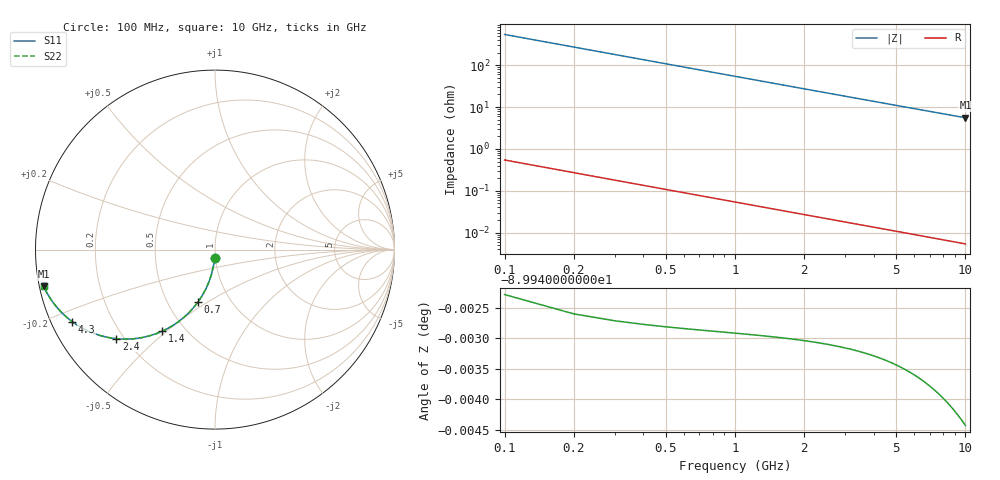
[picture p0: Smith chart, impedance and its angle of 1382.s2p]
# Hz S RI R 50.00
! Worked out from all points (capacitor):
!   100 points, 100 MHz to 10 GHz, reference 50 ohm
!   read as one part in shunt: C = 2.95 pF near 100 MHz
!   lowest |Z| = 5.55 ohm at 10 GHz (marker M1)
!   S11 on the Smith chart (normalised r, x): 100 MHz: 0.99, -0.09; 700 MHz: 0.70, -0.46; 1.4 GHz: 0.38, -0.48; 2.4 GHz: 0.17, -0.38; 4.3 GHz: 0.06, -0.24; 10 GHz: 0.01, -0.11
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1e8  -0.00218 -0.0461  0.9978 -0.0462  0.9978 -0.0462  -0.00218 -0.0461
2e8  -0.00857 -0.0917  0.9914 -0.0918  0.9914 -0.0918  -0.00857 -0.0917
3e8  -0.019 -0.136  0.981 -0.1362  0.981 -0.1362  -0.019 -0.136
4e8  -0.0332 -0.1787  0.9667 -0.1789  0.9667 -0.1789  -0.0332 -0.1787
5e8  -0.0509 -0.2192  0.9491 -0.2195  0.9491 -0.2195  -0.0509 -0.2192
6e8  -0.0716 -0.2572  0.9283 -0.2576  0.9283 -0.2576  -0.0716 -0.2572
7e8  -0.095 -0.2925  0.905 -0.2929  0.905 -0.2929  -0.095 -0.2925
8e8  -0.1204 -0.3247  0.8795 -0.3252  0.8795 -0.3252  -0.1204 -0.3247
1e9  -0.176 -0.38  0.824 -0.3806  0.824 -0.3806  -0.176 -0.38
1.2e9  -0.2349 -0.4231  0.765 -0.4238  0.765 -0.4238  -0.2349 -0.4231
1.4e9  -0.2945 -0.4549  0.7055 -0.4557  0.7055 -0.4557  -0.2945 -0.4549
1.8e9  -0.4076 -0.4903  0.5924 -0.4915  0.5924 -0.4915  -0.4076 -0.4903
2.1e9  -0.4831 -0.4986  0.5169 -0.4999  0.5169 -0.4999  -0.4831 -0.4986
2.4e9  -0.5492 -0.4963  0.4508 -0.4978  0.4508 -0.4978  -0.5492 -0.4963
2.9e9  -0.6395 -0.4787  0.3605 -0.4806  0.3605 -0.4806  -0.6395 -0.4787
3.4e9  -0.7086 -0.4528  0.2914 -0.455  0.2914 -0.455  -0.7086 -0.4528
3.8e9  -0.752 -0.4301  0.248 -0.4326  0.248 -0.4326  -0.752 -0.4301
4.3e9  -0.7949 -0.4019  0.2051 -0.4047  0.2051 -0.4047  -0.7949 -0.4019
5.1e9  -0.8446 -0.3601  0.1553 -0.3634  0.1553 -0.3634  -0.8446 -0.3601
6.7e9  -0.9034 -0.2927  0.0966 -0.2971  0.0966 -0.2971  -0.9034 -0.2927
8.4e9  -0.9362 -0.2412  0.0638 -0.2466  0.0638 -0.2466  -0.9362 -0.2412
1e10  -0.9541 -0.2055  0.0459 -0.212  0.0459 -0.212  -0.9541 -0.2055
